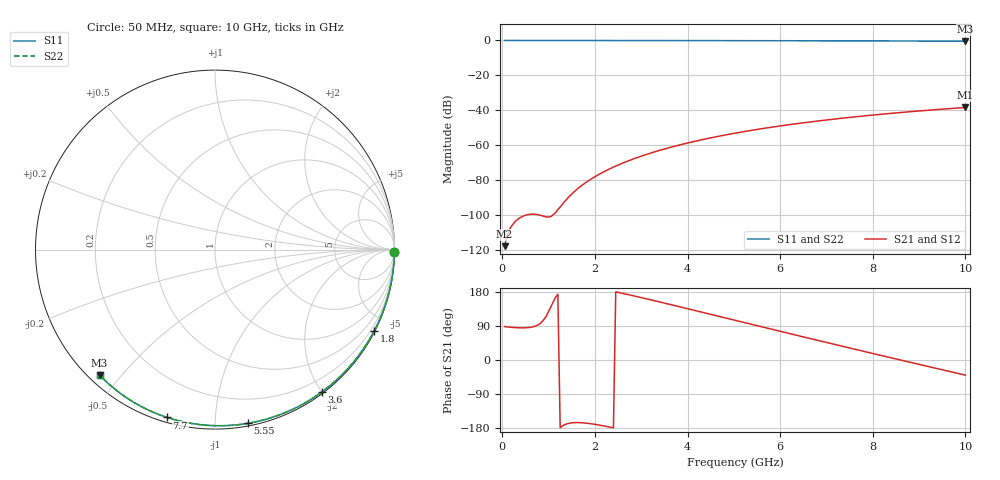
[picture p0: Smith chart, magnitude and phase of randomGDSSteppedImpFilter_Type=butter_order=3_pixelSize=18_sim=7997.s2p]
! freq	dB(S11)	phase(S11)	dB(S12)	phase(S12)
!  dB(S21)	phase(S21)	dB(S22)	phase(S22)
!S-par simulation data
#  GHz  S  DB  R 50
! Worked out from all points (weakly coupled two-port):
!   200 points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, 50 MHz to 10 GHz, reference 50 ohm
!   highest |S21| = -38.34 dB at 10 GHz (marker M1); lowest = -117.7 dB at 50 MHz (marker M2)
!   lowest |S11| = -0.4 dB at 10 GHz (marker M3), VSWR 38.69, Z = 1.54 - j21.9 ohm
!   |S11| at or under -10 dB: nowhere
!   |S22| runs from -0.4 to 0.0 dB; largest |S21 - S12| = 0
!   S11 on the Smith chart (normalised r, x): 50 MHz: open; 1.8 GHz: 0.04, -4.14; 3.6 GHz: 0.02, -2.00; 5.55 GHz: 0.02, -1.21; 7.7 GHz: 0.02, -0.75; 10 GHz: 0.03, -0.44
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0.05  -0.00 -0.8  -117.67 88.3  -117.67 88.3  -0.00 -0.8
0.9  -0.02 -13.7  -100.63 107.3  -100.63 107.3  -0.02 -13.7
1.75  -0.03 -26.4  -82.28 -165.9  -82.28 -165.9  -0.03 -26.4
1.8  -0.03 -27.2  -81.33 -166.5  -81.33 -166.5  -0.03 -27.2
1.85  -0.04 -27.9  -80.43 -167.2  -80.43 -167.2  -0.04 -27.9
1.9  -0.04 -28.7  -79.56 -168.0  -79.56 -168.0  -0.04 -28.7
2.05  -0.04 -30.9  -77.16 -170.8  -77.16 -170.8  -0.04 -30.9
2.25  -0.04 -33.8  -74.34 -175.3  -74.34 -175.3  -0.04 -33.8
2.45  -0.05 -36.7  -71.84 179.7  -71.84 179.7  -0.05 -36.7
2.65  -0.05 -39.6  -69.61 174.4  -69.61 174.4  -0.05 -39.6
3  -0.06 -44.6  -66.19 164.7  -66.19 164.7  -0.06 -44.7
3.4  -0.07 -50.3  -62.85 153.2  -62.85 153.2  -0.07 -50.3
3.6  -0.07 -53.1  -61.35 147.3  -61.35 147.3  -0.07 -53.1
4.3  -0.09 -62.8  -56.84 126.5  -56.84 126.5  -0.09 -62.8
5.05  -0.11 -72.8  -52.92 104.1  -52.92 104.1  -0.11 -72.8
5.55  -0.13 -79.3  -50.70 89.2  -50.70 89.2  -0.13 -79.4
6.1  -0.15 -86.4  -48.53 72.8  -48.53 72.8  -0.15 -86.4
6.7  -0.18 -93.8  -46.44 55.1  -46.44 55.1  -0.18 -93.9
7.7  -0.24 -106.0  -43.46 25.8  -43.46 25.8  -0.24 -106.0
8.35  -0.29 -113.6  -41.80 7.1  -41.80 7.1  -0.29 -113.6
9.15  -0.36 -122.9  -40.00 -15.8  -40.00 -15.8  -0.36 -122.9
10  -0.45 -132.6  -38.34 -40.0  -38.34 -40.0  -0.45 -132.6
